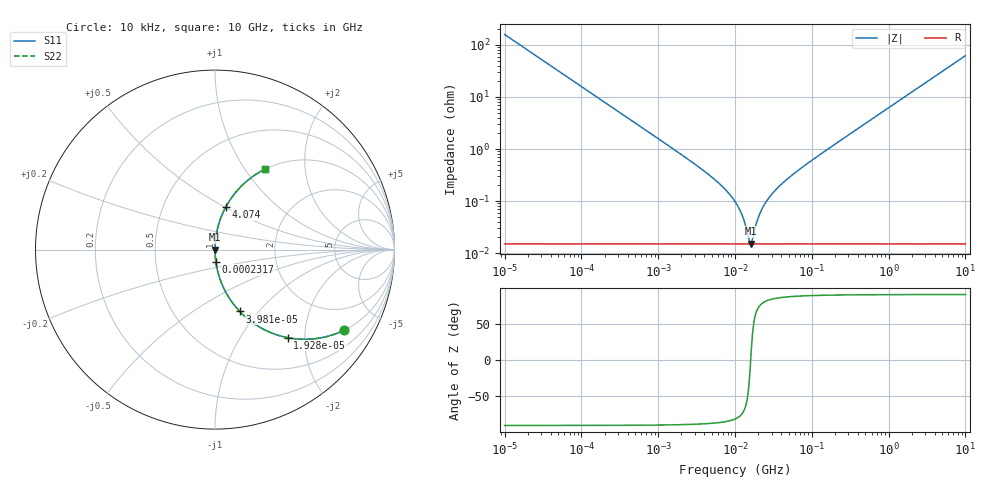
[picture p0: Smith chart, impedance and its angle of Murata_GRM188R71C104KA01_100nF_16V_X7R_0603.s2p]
! Touchstone 2-port S-parameters  (series-through model)
! Part: Murata_GRM188R71C104KA01_100nF_16V_X7R_0603
! Generated: 2026-06-14 12:10 UTC  by s2p tool
! Reference impedance: 50.0 Ohm
! ESL estimated from SRF: 0.989 nH (SRF=16.0 MHz) [PHYSICS ESTIMATE]
! ESTIMATED / behavioral model - NOT manufacturer-measured data.
# Hz S RI R 50
! freq  ReS11  ImS11  ReS21  ImS21  ReS12  ImS12  ReS22  ImS22
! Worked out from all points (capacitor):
!   521 points, 10 kHz to 10 GHz, reference 50 ohm
!   read as one part in series: C = 100 nF near 10.72 kHz
!   lowest |Z| = 15.2 mohm at 16.22 MHz (marker M1)
!   series resonance near 16 MHz, so ESL is about 990 pH
!   S11 on the Smith chart (normalised r, x): 10 kHz: 1.00, -3.18; 19.28 kHz: 1.00, -1.65; 39.81 kHz: 1.00, -0.80; 231.7 kHz: 1.00, -0.14; 4.074 GHz: 1.00, +0.51; 10 GHz: 1.00, +1.24
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10000  0.7169 -0.4504  0.2831 0.4504  0.2831 0.4504  0.7169 -0.4504
19275.25  0.4054 -0.4909  0.5946 0.4909  0.5946 0.4909  0.4054 -0.4909
39810.72  0.1379 -0.3446  0.8621 0.3446  0.8621 0.3446  0.1379 -0.3446
101157.9  0.0243 -0.1535  0.9757 0.1535  0.9757 0.1535  0.0243 -0.1535
231739.5  0.00484 -0.0683  0.9952 0.0683  0.9952 0.0683  0.00484 -0.0683
1023293  0.00039 -0.0155  0.9996 0.0155  0.9996 0.0155  0.00039 -0.0155
4365158  0.000161 -0.00337  0.9998 0.00337  0.9998 0.00337  0.000161 -0.00337
7522962  0.000153 -0.00165  0.9998 0.00165  0.9998 0.00165  0.000153 -0.00165
1e7  0.000151 -0.00097  0.9998 0.00097  0.9998 0.00097  0.000151 -0.00097
1.230269e7  0.00015 -0.000529  0.9998 0.000529  0.9998 0.000529  0.00015 -0.000529
1.397322e7  0.00015 -0.00027  0.9998 0.00027  0.9998 0.00027  0.00015 -0.00027
1.509767e7  0.00015 -0.000116  0.9999 0.000116  0.9999 0.000116  0.00015 -0.000116
1.513561e7  0.00015 -0.000111  0.9999 0.000111  0.9999 0.000111  0.00015 -0.000111
1.62181e7  0.00015 2.69e-05  0.9999 -2.69e-05  0.9999 -2.69e-05  0.00015 2.69e-05
2.06538e7  0.00015 0.000513  0.9998 -0.000513  0.9998 -0.000513  0.00015 0.000513
2.818383e7  0.000151 0.00119  0.9998 -0.00119  0.9998 -0.00119  0.000151 0.00119
4.129378e7  0.000155 0.00218  0.9998 -0.00218  0.9998 -0.00218  0.000155 0.00218
1.005633e8  0.000187 0.00609  0.9998 -0.00609  0.9998 -0.00609  0.000187 0.00609
1.023293e9  0.00418 0.0633  0.9958 -0.0633  0.9958 -0.0633  0.00418 0.0633
4.073803e9  0.0604 0.2379  0.9396 -0.2379  0.9396 -0.2379  0.0604 0.2379
6.382635e9  0.1361 0.3427  0.8639 -0.3427  0.8639 -0.3427  0.1361 0.3427
1e10  0.2788 0.4483  0.7212 -0.4483  0.7212 -0.4483  0.2788 0.4483
